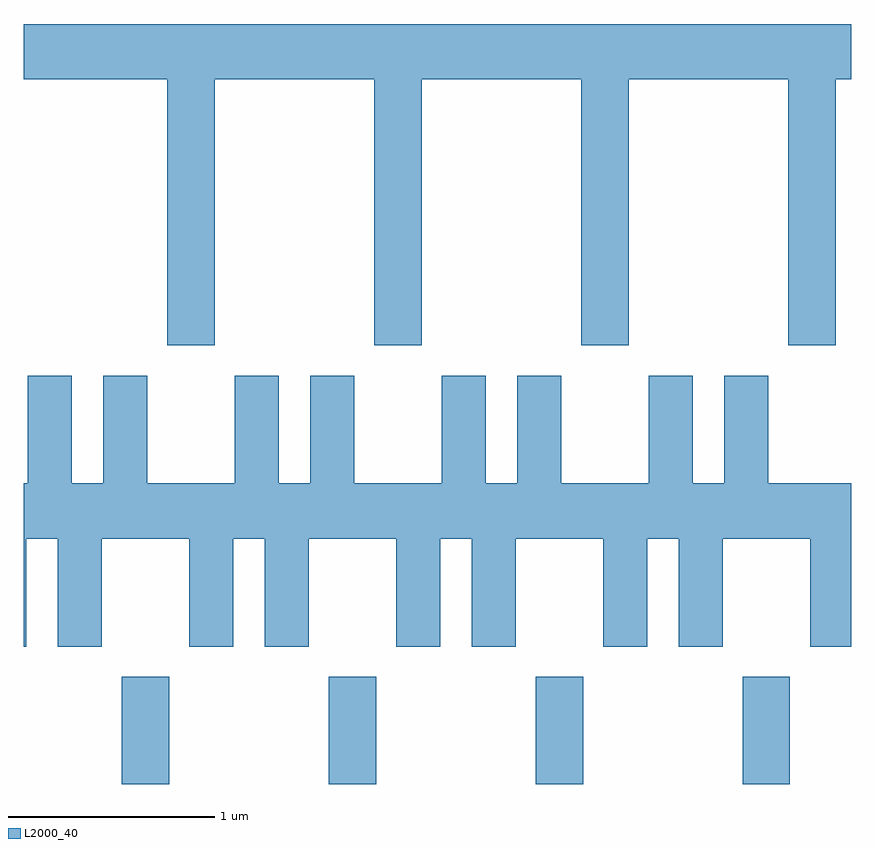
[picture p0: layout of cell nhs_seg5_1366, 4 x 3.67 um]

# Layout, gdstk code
import gdstk
lib = gdstk.Library(unit=1e-6, precision=1e-09)
def R(c, l, rs):  # rectangles x0, y0, x1, y1
    for r in rs: c.add(gdstk.rectangle(r[:2], r[2:], *l))
def A(c, l, x, y, w, h, nx, ny, dx, dy):  # array of equal rectangles
    R(c, l, [(x+i*dx, y+j*dy, x+i*dx+w, y+j*dy+h) for i in range(nx) for j in range(ny)])
def P(c, l, *ps):  # polygons
    for p in ps: c.add(gdstk.Polygon(p, *l))
L2000_40 = (2000, 40)

nhs_seg5_1366 = lib.new_cell('nhs_seg5_1366')
A(nhs_seg5_1366, L2000_40, 226.086, 1440.072, 0.228, 0.517, 4, 1, 1, 0)
P(nhs_seg5_1366, L2000_40, [(226.534,1443.476),(227.306,1443.476),(227.306,1442.191),(227.534,1442.191),(227.534,1443.476),(228.306,1443.476),(228.306,1442.191),(228.534,1442.191),(228.534,1443.476),(229.306,1443.476),(229.306,1442.191),(229.534,1442.191),(229.534,1443.476),(229.611,1443.476),(229.611,1443.744),(225.611,1443.744),(225.611,1443.476),(226.306,1443.476),(226.306,1442.191),(226.534,1442.191)],
  [(225.844,1442.044),(225.631,1442.044),(225.631,1441.524),(225.611,1441.524),(225.611,1440.736),(225.624,1440.736),(225.624,1441.256),(225.776,1441.256),(225.776,1440.736),(225.989,1440.736),(225.989,1441.256),(226.411,1441.256),(226.411,1440.736),(226.624,1440.736),(226.624,1441.256),(226.776,1441.256),(226.776,1440.736),(226.989,1440.736),(226.989,1441.256),(227.411,1441.256),(227.411,1440.736),(227.624,1440.736),(227.624,1441.256),(227.776,1441.256),(227.776,1440.736),(227.989,1440.736),(227.989,1441.256),(228.411,1441.256),(228.411,1440.736),(228.624,1440.736),(228.624,1441.256),(228.776,1441.256),(228.776,1440.736),(228.989,1440.736),(228.989,1441.256),(229.411,1441.256),(229.411,1440.736),(229.611,1440.736),(229.611,1441.524),(229.209,1441.524),(229.209,1442.044),(228.996,1442.044),(228.996,1441.524),(228.844,1441.524),(228.844,1442.044),(228.631,1442.044),(228.631,1441.524),(228.209,1441.524),(228.209,1442.044),(227.996,1442.044),(227.996,1441.524),(227.844,1441.524),(227.844,1442.044),(227.631,1442.044),(227.631,1441.524),(227.209,1441.524),(227.209,1442.044),(226.996,1442.044),(226.996,1441.524),(226.844,1441.524),(226.844,1442.044),(226.631,1442.044),(226.631,1441.524),(226.209,1441.524),(226.209,1442.044),(225.996,1442.044),(225.996,1441.524),(225.844,1441.524)])

lib.write_gds('nhs_seg5_1366.gds')
